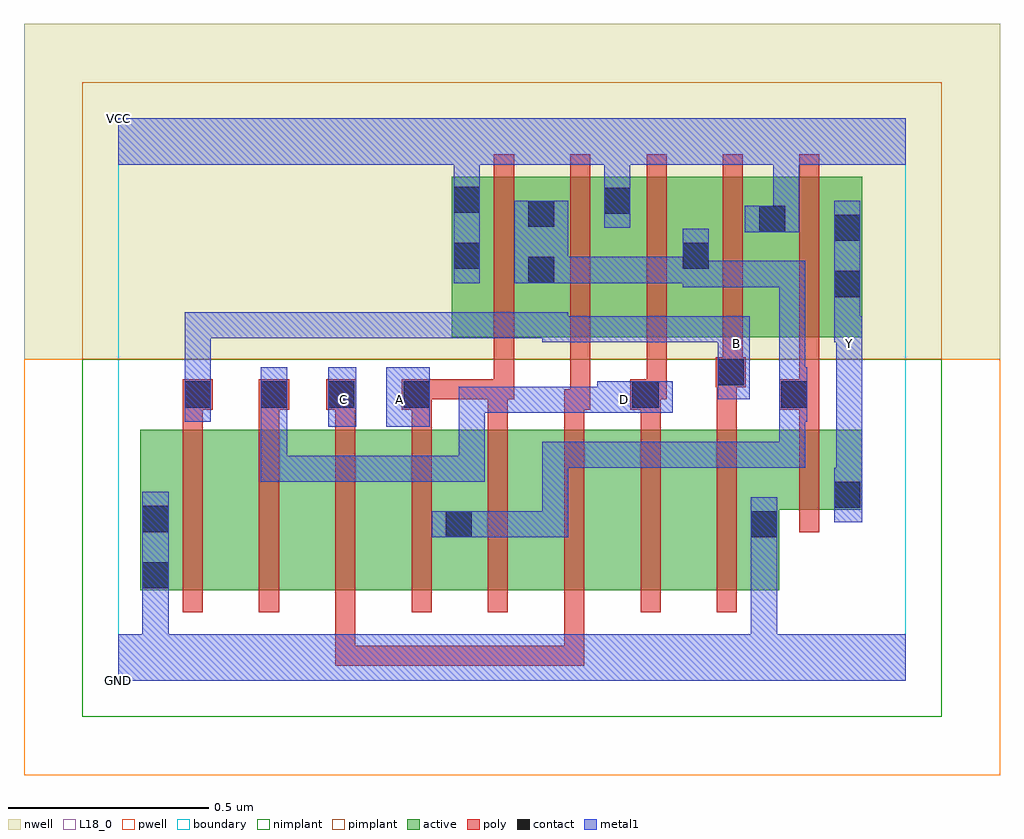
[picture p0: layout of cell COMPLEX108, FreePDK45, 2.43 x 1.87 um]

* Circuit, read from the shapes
.subckt COMPLEX108 A B C D GND VCC Y
M1 n1 B GND VSUBS nfet w=0.4u l=0.05u
M2 n2 D n1 VSUBS nfet w=0.4u l=0.05u
M3 n3 C n2 VSUBS nfet w=0.4u l=0.05u
M4 n4 A n3 VSUBS nfet w=0.4u l=0.05u
M5 n5 A n4 VSUBS nfet w=0.4u l=0.05u
M6 n6 C n5 VSUBS nfet w=0.4u l=0.05u
M7 n7 D n6 VSUBS nfet w=0.4u l=0.05u
M8 GND B n7 VSUBS nfet w=0.4u l=0.05u
M9 Y n4 GND VSUBS nfet w=0.2u l=0.05u
M10 n4 A VCC n8 pfet w=0.4u l=0.05u
M11 VCC C n4 n8 pfet w=0.4u l=0.05u
M12 n4 D VCC n8 pfet w=0.4u l=0.05u
M13 VCC B n4 n8 pfet w=0.4u l=0.05u
M14 Y n4 VCC n8 pfet w=0.4u l=0.05u
.ends

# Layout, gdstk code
import gdstk
lib = gdstk.Library(unit=1e-6, precision=1e-09)
def R(c, l, rs):  # rectangles x0, y0, x1, y1
    for r in rs: c.add(gdstk.rectangle(r[:2], r[2:], *l))
def A(c, l, x, y, w, h, nx, ny, dx, dy):  # array of equal rectangles
    R(c, l, [(x+i*dx, y+j*dy, x+i*dx+w, y+j*dy+h) for i in range(nx) for j in range(ny)])
active = (1, 0)
pwell = (2, 0)
nwell = (3, 0)
nimplant = (4, 0)
pimplant = (5, 0)
poly = (9, 0)
contact = (10, 0)
metal1 = (11, 0)
L18_0 = (18, 0)
boundary = (235, 0)

complex108 = lib.new_cell('COMPLEX108')
R(complex108, active, [(0.055,0.225,0.28,0.625), (0.055,0.225,0.13,0.625), (0.28,0.225,0.47,0.625), (0.47,0.225,0.66,0.625), (0.66,0.225,0.885,0.625), (0.81,0.225,1.04,0.625), (1.04,0.225,1.23,0.625), (1.23,0.225,1.42,0.625), (1.42,0.225,1.645,0.625), (0.81,0.345,0.885,0.617), (1.57,0.352,1.645,0.597), (1.57,0.425,1.852,0.625), (1.777,0.425,1.852,0.625), (0.83,0.855,0.905,1.255), (0.83,0.855,1.09,1.255), (1.015,0.855,1.28,1.255), (1.205,0.855,1.475,1.255), (1.4,0.855,1.475,1.2), (1.4,0.855,1.665,1.255), (1.59,0.855,1.852,1.255), (1.777,0.855,1.852,1.2), (1.015,0.907,1.09,1.2), (1.205,0.907,1.28,1.255), (1.59,0.907,1.665,1.255)])
R(complex108, pwell, [(-0.235,-0.235,2.195,0.8)])
R(complex108, nwell, [(-0.235,0.8,2.195,1.635)])
R(complex108, nimplant, [(-0.09,-0.09,2.05,0.8)])
R(complex108, pimplant, [(-0.09,0.8,2.05,1.49)])
A(complex108, poly, 0.16, 0.17, 0.05, 0.51, 8, 1, 0.19, 0)
A(complex108, poly, 0.16, 0.63, 0.05, 0.095, 4, 1, 0.19, 0)
A(complex108, poly, 0.935, 0.7, 0.05, 0.15, 3, 1, 0.38, 0)
A(complex108, poly, 0.935, 0.8, 0.05, 0.51, 5, 1, 0.19, 0)
R(complex108, poly, [(0.54,0.037,0.59,0.087), (0.54,0.037,0.59,0.087), (0.54,0.037,0.59,0.087), (0.54,0.037,0.59,0.22), (0.54,0.037,0.837,0.087), (0.787,0.037,0.837,0.087), (0.787,0.037,0.837,0.087), (0.787,0.037,0.837,0.087), (0.787,0.037,1.027,0.087), (0.977,0.037,1.027,0.087), (0.977,0.037,1.16,0.087), (1.11,0.037,1.16,0.087), (1.11,0.037,1.16,0.087), (1.11,0.037,1.16,0.087), (1.11,0.037,1.16,0.22), (1.695,0.37,1.745,0.68), (0.92,0.63,0.97,0.75), (1.11,0.63,1.16,0.725), (1.3,0.63,1.35,0.725), (1.49,0.63,1.54,0.78), (1.695,0.63,1.745,0.725), (0.16,0.675,0.21,0.725), (0.16,0.675,0.21,0.725), (0.16,0.675,0.235,0.75), (0.35,0.675,0.425,0.75), (0.517,0.675,0.592,0.75), (0.705,0.675,0.78,0.75), (1.11,0.675,1.16,0.725), (1.11,0.675,1.16,0.725), (1.11,0.675,1.175,0.725), (1.125,0.675,1.175,0.85), (1.275,0.675,1.35,0.75), (1.645,0.675,1.745,0.75), (0.73,0.7,0.78,0.75), (0.73,0.7,0.78,0.75), (0.73,0.7,0.97,0.75), (0.92,0.7,0.985,0.75), (0.935,0.7,0.985,0.75), (0.935,0.7,0.985,0.75), (1.3,0.7,1.35,0.75), (1.3,0.7,1.365,0.75), (1.695,0.7,1.745,0.75), (1.695,0.7,1.745,0.75), (1.487,0.73,1.562,0.805), (1.49,0.73,1.54,0.78), (1.49,0.73,1.54,0.78), (1.505,0.755,1.555,0.85)])
R(complex108, contact, [(0.06,0.23,0.125,0.295), (0.815,0.357,0.88,0.422), (1.575,0.357,1.64,0.422), (0.06,0.37,0.125,0.435), (1.782,0.43,1.847,0.495), (0.165,0.68,0.23,0.745), (0.355,0.68,0.42,0.745), (0.522,0.68,0.587,0.745), (0.71,0.68,0.775,0.745), (1.28,0.68,1.345,0.745), (1.65,0.68,1.715,0.745), (1.492,0.735,1.557,0.8), (1.782,0.955,1.847,1.02), (1.02,0.99,1.085,1.055), (0.835,1.025,0.9,1.09), (1.405,1.025,1.47,1.09), (1.782,1.095,1.847,1.16), (1.595,1.117,1.66,1.182), (1.02,1.13,1.085,1.195), (1.21,1.162,1.275,1.227), (0.835,1.165,0.9,1.23)])
R(complex108, metal1, [(0,0,1.96,0.115), (0.06,0.05,0.125,0.115), (0.06,0.05,0.125,0.115), (0.06,0.05,0.125,0.26), (1.575,0.05,1.64,0.387), (0.06,0.195,0.125,0.47), (1.575,0.322,1.64,0.387), (1.575,0.322,1.64,0.387), (1.575,0.322,1.64,0.457), (0.78,0.357,0.915,0.422), (0.85,0.357,0.915,0.422), (0.85,0.357,0.915,0.422), (0.85,0.357,1.12,0.422), (1.055,0.357,1.12,0.422), (1.055,0.357,1.12,0.595), (1.782,0.395,1.852,0.53), (1.787,0.465,1.852,0.837), (0.355,0.495,0.42,0.56), (0.355,0.495,0.57,0.56), (0.355,0.495,0.42,0.71), (0.505,0.495,0.57,0.56), (0.505,0.495,0.707,0.56), (0.642,0.495,0.707,0.56), (0.642,0.495,0.707,0.56), (0.642,0.495,0.707,0.56), (0.642,0.495,0.912,0.56), (0.847,0.495,0.912,0.56), (0.847,0.495,0.912,0.732), (1.055,0.53,1.12,0.595), (1.055,0.53,1.12,0.595), (1.055,0.53,1.12,0.595), (1.055,0.53,1.257,0.595), (1.192,0.53,1.257,0.595), (1.192,0.53,1.257,0.595), (1.192,0.53,1.257,0.595), (1.192,0.53,1.395,0.595), (1.33,0.53,1.395,0.595), (1.33,0.53,1.395,0.595), (1.33,0.53,1.395,0.595), (1.33,0.53,1.71,0.595), (1.645,0.53,1.71,0.595), (1.645,0.53,1.71,0.78), (0.522,0.632,0.592,0.78), (0.667,0.632,0.775,0.78), (0.165,0.645,0.23,0.78), (0.355,0.645,0.42,0.71), (0.355,0.645,0.42,0.71), (0.355,0.645,0.42,0.78), (1.65,0.645,1.715,0.78), (0.847,0.667,0.912,0.732), (0.847,0.667,0.912,0.732), (0.847,0.667,0.912,0.732), (0.847,0.667,1.12,0.732), (1.055,0.667,1.12,0.732), (1.055,0.667,1.12,0.732), (1.055,0.667,1.12,0.732), (1.055,0.667,1.257,0.732), (1.192,0.667,1.257,0.732), (1.192,0.667,1.257,0.732), (1.192,0.667,1.38,0.745), (1.492,0.7,1.572,0.907), (0.165,0.715,0.23,0.78), (0.165,0.715,0.23,0.917), (1.645,0.715,1.71,0.78), (1.645,0.715,1.71,0.78), (1.645,0.715,1.71,0.78), (1.645,0.715,1.715,0.78), (1.645,0.715,1.71,1.045), (1.787,0.772,1.852,0.907), (1.055,0.842,1.12,0.907), (1.055,0.842,1.12,0.907), (1.055,0.842,1.12,0.917), (1.055,0.842,1.257,0.907), (1.192,0.842,1.257,0.907), (1.192,0.842,1.257,0.907), (1.192,0.842,1.257,0.907), (1.192,0.842,1.395,0.907), (1.33,0.842,1.395,0.907), (1.33,0.842,1.557,0.907), (1.782,0.842,1.847,0.985), (1.782,0.842,1.852,0.907), (1.787,0.842,1.852,0.907), (0.165,0.852,0.367,0.917), (0.302,0.852,0.367,0.917), (0.302,0.852,0.367,0.917), (0.302,0.852,0.367,0.917), (0.302,0.852,0.557,0.917), (0.492,0.852,0.557,0.917), (0.492,0.852,0.707,0.917), (0.642,0.852,0.707,0.917), (0.642,0.852,0.707,0.917), (0.642,0.852,0.707,0.917), (0.642,0.852,0.912,0.917), (0.847,0.852,0.912,0.917), (0.847,0.852,0.912,0.917), (0.847,0.852,0.912,0.917), (0.847,0.852,1.12,0.917), (1.782,0.92,1.847,1.195), (1.405,0.98,1.71,1.045), (1.405,0.98,1.47,1.055), (1.645,0.98,1.71,1.045), (0.835,0.99,0.9,1.265), (0.985,0.99,1.12,1.195), (1.055,0.99,1.12,1.055), (1.055,0.99,1.12,1.055), (1.055,0.99,1.257,1.055), (1.192,0.99,1.257,1.055), (1.192,0.99,1.257,1.055), (1.192,0.99,1.257,1.055), (1.192,0.99,1.47,1.055), (1.405,0.99,1.47,1.055), (1.405,0.99,1.47,1.125), (1.56,1.117,1.695,1.182), (1.63,1.117,1.695,1.35), (1.21,1.127,1.275,1.262), (1.21,1.197,1.275,1.35), (0.835,1.2,0.9,1.35), (0,1.285,1.96,1.4)])
R(complex108, L18_0, [(0,0,1.96,0.115), (0.06,0.05,0.125,0.115), (0.06,0.05,0.125,0.115), (0.06,0.05,0.125,0.26), (1.575,0.05,1.64,0.387), (0.06,0.195,0.125,0.47), (1.575,0.322,1.64,0.387), (1.575,0.322,1.64,0.387), (1.575,0.322,1.64,0.457), (1.782,0.395,1.852,0.53), (1.787,0.465,1.852,0.837), (0.355,0.495,0.42,0.56), (0.355,0.495,0.42,0.71), (0.355,0.495,0.57,0.56), (0.505,0.495,0.57,0.56), (0.505,0.495,0.707,0.56), (0.642,0.495,0.707,0.56), (0.642,0.495,0.707,0.56), (0.642,0.495,0.707,0.56), (0.642,0.495,0.912,0.56), (0.847,0.495,0.912,0.56), (0.847,0.495,0.912,0.732), (0.522,0.632,0.592,0.78), (0.667,0.632,0.775,0.78), (0.165,0.645,0.23,0.78), (0.355,0.645,0.42,0.71), (0.355,0.645,0.42,0.71), (0.355,0.645,0.42,0.78), (0.527,0.667,0.592,0.732), (0.667,0.667,0.732,0.732), (0.847,0.667,0.912,0.732), (0.847,0.667,0.912,0.732), (0.847,0.667,0.912,0.732), (0.847,0.667,1.12,0.732), (1.055,0.667,1.12,0.732), (1.055,0.667,1.12,0.732), (1.055,0.667,1.12,0.732), (1.055,0.667,1.257,0.732), (1.192,0.667,1.257,0.732), (1.192,0.667,1.257,0.732), (1.192,0.667,1.38,0.745), (1.227,0.667,1.292,0.732), (1.492,0.7,1.572,0.907), (0.165,0.715,0.23,0.78), (0.165,0.715,0.23,0.917), (1.787,0.772,1.852,0.907), (1.507,0.807,1.572,0.872), (1.787,0.807,1.852,0.872), (1.055,0.842,1.12,0.907), (1.055,0.842,1.12,0.907), (1.055,0.842,1.257,0.907), (1.055,0.842,1.12,0.917), (1.192,0.842,1.257,0.907), (1.192,0.842,1.257,0.907), (1.192,0.842,1.257,0.907), (1.192,0.842,1.395,0.907), (1.33,0.842,1.395,0.907), (1.33,0.842,1.557,0.907), (1.782,0.842,1.852,0.907), (1.782,0.842,1.847,0.985), (1.787,0.842,1.852,0.907), (0.165,0.852,0.367,0.917), (0.302,0.852,0.367,0.917), (0.302,0.852,0.367,0.917), (0.302,0.852,0.367,0.917), (0.302,0.852,0.557,0.917), (0.492,0.852,0.557,0.917), (0.492,0.852,0.707,0.917), (0.642,0.852,0.707,0.917), (0.642,0.852,0.707,0.917), (0.642,0.852,0.707,0.917), (0.642,0.852,0.912,0.917), (0.847,0.852,0.912,0.917), (0.847,0.852,0.912,0.917), (0.847,0.852,0.912,0.917), (0.847,0.852,1.12,0.917), (1.782,0.92,1.847,1.195), (0.835,0.99,0.9,1.265), (1.56,1.117,1.695,1.182), (1.63,1.117,1.695,1.35), (1.21,1.127,1.275,1.262), (1.21,1.197,1.275,1.35), (0.835,1.2,0.9,1.35), (0,1.285,1.96,1.4)])
R(complex108, boundary, [(0,0,1.96,1.4)])
complex108.add(gdstk.Label('A', (0.7,0.7), layer=11, texttype=0))
complex108.add(gdstk.Label('B', (1.54,0.84), layer=11, texttype=0))
complex108.add(gdstk.Label('C', (0.56,0.7), layer=11, texttype=0))
complex108.add(gdstk.Label('D', (1.26,0.7), layer=11, texttype=0))
complex108.add(gdstk.Label('Y', (1.82,0.84), layer=11, texttype=0))
complex108.add(gdstk.Label('VCC', (0,1.4), layer=11, texttype=0))
complex108.add(gdstk.Label('GND', (0,0), layer=11, texttype=0))

lib.write_gds('COMPLEX108.gds')
